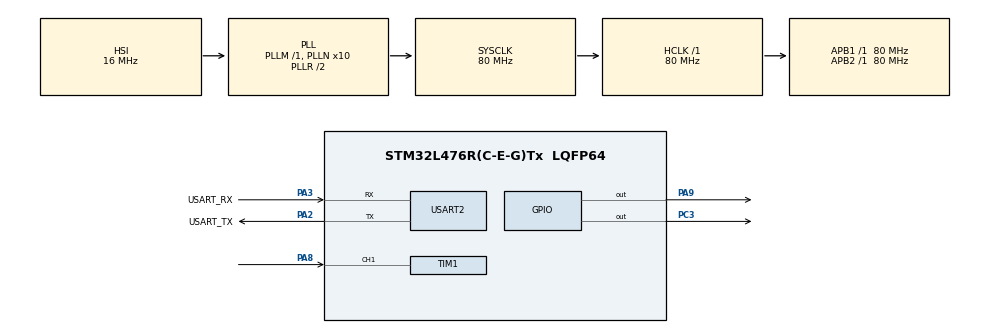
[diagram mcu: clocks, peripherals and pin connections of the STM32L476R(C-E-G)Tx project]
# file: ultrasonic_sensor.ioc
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Mcu.Family=STM32L4
PA2.GPIO_PuPd=GPIO_NOPULL
VP_SYS_VS_tim6.Mode=TIM6
RCC.CortexFreq_Value=80000000
NVIC.TIM6_DAC_IRQn=true\:0\:0\:false\:false\:true\:false\:false\:true
PH0-OSC_IN\ (PH0).Signal=RCC_OSC_IN
PA3.GPIO_PuPd=GPIO_NOPULL
PA2.GPIO_Speed=GPIO_SPEED_FREQ_VERY_HIGH
PC15-OSC32_OUT\ (PC15).Mode=LSE-External-Oscillator
PA3.GPIO_Speed=GPIO_SPEED_FREQ_VERY_HIGH
RCC.SYSCLKSource=RCC_SYSCLKSOURCE_PLLCLK
ProjectManager.StackSize=0x400
PB3\ (JTDO-TRACESWO).Signal=SYS_JTDO-SWO
PC14-OSC32_IN\ (PC14).Mode=LSE-External-Oscillator
VP_FREERTOS_VS_CMSIS_V2.Mode=CMSIS_V2
PA14\ (JTCK-SWCLK).Signal=SYS_JTCK-SWCLK
TIM1.Prescaler=80
RCC.HCLKFreq_Value=80000000
RCC.APB2TimFreq_Value=80000000
PC3.Signal=GPIO_Output
RCC.AHBFreq_Value=80000000
RCC.PREFETCH_ENABLE=1
RCC.HSE_VALUE=8000000
USART2.VirtualMode-Asynchronous=VM_ASYNC
PA8.Signal=S_TIM1_CH1
Mcu.Package=LQFP64
NVIC.TimeBase=TIM6_DAC_IRQn
PA2.GPIO_Label=USART_TX
NVIC.TimeBaseIP=TIM6
RCC.APB1TimFreq_Value=80000000
TIM1.ICPolarity_CH1=TIM_INPUTCHANNELPOLARITY_BOTHEDGE
TIM1.Period=65535
PA13\ (JTMS-SWDIO).Signal=SYS_JTMS-SWDIO
PA3.Signal=USART2_RX
PA2.GPIO_Mode=GPIO_MODE_AF_PP
RCC.MSI_VALUE=4000000
RCC.PLLSourceVirtual=RCC_PLLSOURCE_HSI
PA14\ (JTCK-SWCLK).Mode=Serial_Wire
FREERTOS.Tasks01=ultrasonicSens,8,128,StartUltrasonicSensTask,Default,NULL,Dynamic,NULL,NULL
PC15-OSC32_OUT\ (PC15).Signal=RCC_OSC32_OUT
PA14\ (JTCK-SWCLK).GPIO_Label=TCK
PB3\ (JTDO-TRACESWO).GPIO_Label=SWO
PH1-OSC_OUT\ (PH1).Signal=RCC_OSC_OUT
PA3.Mode=Asynchronous
SH.S_TIM1_CH1.0=TIM1_CH1,Input_Capture1_from_TI1
ProjectManager.TargetToolchain=STM32CubeIDE
PA3.GPIO_Mode=GPIO_MODE_AF_PP
PA9.Signal=GPIO_Output
RCC.USBFreq_Value=64000000
board=NUCLEO-L476RG
RCC.VCOOutputFreq_Value=160000000
RCC.APB2Freq_Value=80000000
PA13\ (JTMS-SWDIO).GPIO_Label=TMS
RCC.ADCFreq_Value=64000000
Mcu.Name=STM32L476R(C-E-G)Tx
PA2.Signal=USART2_TX
NVIC.TIM1_CC_IRQn=true\:5\:0\:false\:false\:true\:true\:true\:true
PA13\ (JTMS-SWDIO).Mode=Serial_Wire
RCC.SYSCLKFreq_VALUE=80000000
TIM1.Channel-Input_Capture1_from_TI1=TIM_CHANNEL_1
PC14-OSC32_IN\ (PC14).Signal=RCC_OSC32_IN
ProjectManager.HeapSize=0x200
RCC.HSI_VALUE=16000000
NVIC.PriorityGroup=NVIC_PRIORITYGROUP_4
RCC.PLLN=10
PA2.Mode=Asynchronous
RCC.APB1Freq_Value=80000000
PA3.GPIO_Label=USART_RX

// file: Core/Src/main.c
/* USER CODE BEGIN Header */
/**
  ******************************************************************************
  * @file           : main.c
  * @brief          : Main program body
  ******************************************************************************
  * @attention
  *
  * <h2><center>&copy; Copyright (c) 2021 STMicroelectronics.
  * All rights reserved.</center></h2>
  *
  * This software component is licensed by ST under BSD 3-Clause license,
  * the "License"; You may not use this file except in compliance with the
  * License. You may obtain a copy of the License at:
  *                        opensource.org/licenses/BSD-3-Clause
  *
  ******************************************************************************
  */
/* USER CODE END Header */
#include "main.h"
#include "cmsis_os.h"

/* USER CODE BEGIN Includes */
#include <stdio.h>
/* USER CODE END Includes */

/* USER CODE BEGIN PTD */
#ifdef __GNUC__
	#define PUTCHAR_PROTOTYPE int __io_putchar(int ch)
#else
	#define PUTCHAR_PROTOTYPE int fputc(int ch, FILE *f)
#endif /* __GNUC__ */
/* USER CODE END PTD */

TIM_HandleTypeDef htim1;

UART_HandleTypeDef huart2;

/* Definitions for ultrasonicSens */
osThreadId_t ultrasonicSensHandle;
const osThreadAttr_t ultrasonicSens_attributes = {
  .name = "ultrasonicSens",
  .stack_size = 128 * 4,
  .priority = (osPriority_t) osPriorityLow,
};

void SystemClock_Config(void);
static void MX_GPIO_Init(void);
static void MX_USART2_UART_Init(void);
static void MX_TIM1_Init(void);
void StartUltrasonicSensTask(void *argument);

/* USER CODE BEGIN 0 */
#define TRIG_PIN GPIO_PIN_9
#define TRIG_PORT GPIOA

typedef enum
{
	GET_RISING_EDGE,
	GET_FALLING_EDGE,
} UltrasonicState_t;

volatile uint32_t ulICValRise = 0UL;
volatile uint32_t ulICValFall = 0UL;
volatile uint32_t ulPulseWidth1ms = 0Ul;
volatile UltrasonicState_t eUltrasonicState = GET_RISING_EDGE;
volatile float fDistance = 0.0f;

// Callback
void HAL_TIM_IC_CaptureCallback(TIM_HandleTypeDef *htim)
{
	// If the interrut source is from channel 1
	if (htim->Instance == TIM1 && htim->Channel == HAL_TIM_ACTIVE_CHANNEL_1)
	{
		if (eUltrasonicState == GET_RISING_EDGE)
		{
			ulICValRise = HAL_TIM_ReadCapturedValue(htim, TIM_CHANNEL_1);

			eUltrasonicState = GET_FALLING_EDGE;
		}
		else if (eUltrasonicState == GET_FALLING_EDGE)
		{
			ulICValFall = HAL_TIM_ReadCapturedValue(htim, TIM_CHANNEL_1);

			// Reset the counter
			__HAL_TIM_SET_COUNTER(htim, 0);

			if (ulICValFall >= ulICValRise)
			{
				ulPulseWidth1ms = ulICValFall - ulICValRise;
			}
			else
			{
				ulPulseWidth1ms = (0xFFFF - ulICValRise) + ulICValFall;
			}

			fDistance = (float)ulPulseWidth1ms / 58.30875f;

			eUltrasonicState = GET_RISING_EDGE;
		}
	}
}

void HCSR04_Read(void)
{
	HAL_GPIO_WritePin(TRIG_PORT, TRIG_PIN, GPIO_PIN_SET);
	osDelay(10);
	HAL_GPIO_WritePin(TRIG_PORT, TRIG_PIN, GPIO_PIN_RESET);
}

/* USER CODE END 0 */

int main(void)
{

  /* MCU Configuration--------------------------------------------------------*/

  /* Reset of all peripherals, Initializes the Flash interface and the Systick. */
  HAL_Init();

  /* Configure the system clock */
  SystemClock_Config();

  /* Initialize all configured peripherals */
  MX_GPIO_Init();
  MX_USART2_UART_Init();
  MX_TIM1_Init();
  /* USER CODE BEGIN 2 */

  // Start input capture in interrupt mode
  HAL_TIM_IC_Start_IT(&htim1, TIM_CHANNEL_1);
  /* USER CODE END 2 */

  /* Init scheduler */
  osKernelInitialize();

  /* Create the thread(s) */
  /* creation of ultrasonicSens */
  ultrasonicSensHandle = osThreadNew(StartUltrasonicSensTask, NULL, &ultrasonicSens_attributes);

  /* Start scheduler */
  osKernelStart();

  /* We should never get here as control is now taken by the scheduler */
  /* Infinite loop */
  for (;;)
  {

  }
}

void SystemClock_Config(void)
{
  RCC_OscInitTypeDef RCC_OscInitStruct = {0};
  RCC_ClkInitTypeDef RCC_ClkInitStruct = {0};
  RCC_PeriphCLKInitTypeDef PeriphClkInit = {0};

  /** Initializes the RCC Oscillators according to the specified parameters
  * in the RCC_OscInitTypeDef structure.
  */
  RCC_OscInitStruct.OscillatorType = RCC_OSCILLATORTYPE_HSI;
  RCC_OscInitStruct.HSIState = RCC_HSI_ON;
  RCC_OscInitStruct.HSICalibrationValue = RCC_HSICALIBRATION_DEFAULT;
  RCC_OscInitStruct.PLL.PLLState = RCC_PLL_ON;
  RCC_OscInitStruct.PLL.PLLSource = RCC_PLLSOURCE_HSI;
  RCC_OscInitStruct.PLL.PLLM = 1;
  RCC_OscInitStruct.PLL.PLLN = 10;
  RCC_OscInitStruct.PLL.PLLP = RCC_PLLP_DIV7;
  RCC_OscInitStruct.PLL.PLLQ = RCC_PLLQ_DIV2;
  RCC_OscInitStruct.PLL.PLLR = RCC_PLLR_DIV2;
  if (HAL_RCC_OscConfig(&RCC_OscInitStruct) != HAL_OK)
  {
    Error_Handler();
  }
  /** Initializes the CPU, AHB and APB buses clocks
  */
  RCC_ClkInitStruct.ClockType = RCC_CLOCKTYPE_HCLK|RCC_CLOCKTYPE_SYSCLK
                              |RCC_CLOCKTYPE_PCLK1|RCC_CLOCKTYPE_PCLK2;
  RCC_ClkInitStruct.SYSCLKSource = RCC_SYSCLKSOURCE_PLLCLK;
  RCC_ClkInitStruct.AHBCLKDivider = RCC_SYSCLK_DIV1;
  RCC_ClkInitStruct.APB1CLKDivider = RCC_HCLK_DIV1;
  RCC_ClkInitStruct.APB2CLKDivider = RCC_HCLK_DIV1;

  if (HAL_RCC_ClockConfig(&RCC_ClkInitStruct, FLASH_LATENCY_4) != HAL_OK)
  {
    Error_Handler();
  }
  PeriphClkInit.PeriphClockSelection = RCC_PERIPHCLK_USART2;
  PeriphClkInit.Usart2ClockSelection = RCC_USART2CLKSOURCE_PCLK1;
  if (HAL_RCCEx_PeriphCLKConfig(&PeriphClkInit) != HAL_OK)
  {
    Error_Handler();
  }
  /** Configure the main internal regulator output voltage
  */
  if (HAL_PWREx_ControlVoltageScaling(PWR_REGULATOR_VOLTAGE_SCALE1) != HAL_OK)
  {
    Error_Handler();
  }
}

static void MX_TIM1_Init(void)
{

  TIM_MasterConfigTypeDef sMasterConfig = {0};
  TIM_IC_InitTypeDef sConfigIC = {0};

  htim1.Instance = TIM1;
  htim1.Init.Prescaler = 80;
  htim1.Init.CounterMode = TIM_COUNTERMODE_UP;
  htim1.Init.Period = 65535;
  htim1.Init.ClockDivision = TIM_CLOCKDIVISION_DIV1;
  htim1.Init.RepetitionCounter = 0;
  htim1.Init.AutoReloadPreload = TIM_AUTORELOAD_PRELOAD_DISABLE;
  if (HAL_TIM_IC_Init(&htim1) != HAL_OK)
  {
    Error_Handler();
  }
  sMasterConfig.MasterOutputTrigger = TIM_TRGO_RESET;
  sMasterConfig.MasterOutputTrigger2 = TIM_TRGO2_RESET;
  sMasterConfig.MasterSlaveMode = TIM_MASTERSLAVEMODE_DISABLE;
  if (HAL_TIMEx_MasterConfigSynchronization(&htim1, &sMasterConfig) != HAL_OK)
  {
    Error_Handler();
  }
  sConfigIC.ICPolarity = TIM_INPUTCHANNELPOLARITY_BOTHEDGE;
  sConfigIC.ICSelection = TIM_ICSELECTION_DIRECTTI;
  sConfigIC.ICPrescaler = TIM_ICPSC_DIV1;
  sConfigIC.ICFilter = 0;
  if (HAL_TIM_IC_ConfigChannel(&htim1, &sConfigIC, TIM_CHANNEL_1) != HAL_OK)
  {
    Error_Handler();
  }

}

static void MX_USART2_UART_Init(void)
{

  huart2.Instance = USART2;
  huart2.Init.BaudRate = 115200;
  huart2.Init.WordLength = UART_WORDLENGTH_8B;
  huart2.Init.StopBits = UART_STOPBITS_1;
  huart2.Init.Parity = UART_PARITY_NONE;
  huart2.Init.Mode = UART_MODE_TX_RX;
  huart2.Init.HwFlowCtl = UART_HWCONTROL_NONE;
  huart2.Init.OverSampling = UART_OVERSAMPLING_16;
  huart2.Init.OneBitSampling = UART_ONE_BIT_SAMPLE_DISABLE;
  huart2.AdvancedInit.AdvFeatureInit = UART_ADVFEATURE_NO_INIT;
  if (HAL_UART_Init(&huart2) != HAL_OK)
  {
    Error_Handler();
  }

}

static void MX_GPIO_Init(void)
{
  GPIO_InitTypeDef GPIO_InitStruct = {0};

  /* GPIO Ports Clock Enable */
  __HAL_RCC_GPIOC_CLK_ENABLE();
  __HAL_RCC_GPIOH_CLK_ENABLE();
  __HAL_RCC_GPIOA_CLK_ENABLE();
  __HAL_RCC_GPIOB_CLK_ENABLE();

  /*Configure GPIO pin Output Level */
  HAL_GPIO_WritePin(GPIOC, GPIO_PIN_3, GPIO_PIN_RESET);

  /*Configure GPIO pin Output Level */
  HAL_GPIO_WritePin(GPIOA, GPIO_PIN_9, GPIO_PIN_RESET);

  /*Configure GPIO pin : PC3 */
  GPIO_InitStruct.Pin = GPIO_PIN_3;
  GPIO_InitStruct.Mode = GPIO_MODE_OUTPUT_PP;
  GPIO_InitStruct.Pull = GPIO_NOPULL;
  GPIO_InitStruct.Speed = GPIO_SPEED_FREQ_LOW;
  HAL_GPIO_Init(GPIOC, &GPIO_InitStruct);

  /*Configure GPIO pin : PA9 */
  GPIO_InitStruct.Pin = GPIO_PIN_9;
  GPIO_InitStruct.Mode = GPIO_MODE_OUTPUT_PP;
  GPIO_InitStruct.Pull = GPIO_NOPULL;
  GPIO_InitStruct.Speed = GPIO_SPEED_FREQ_LOW;
  HAL_GPIO_Init(GPIOA, &GPIO_InitStruct);

}

/* USER CODE BEGIN 4 */
PUTCHAR_PROTOTYPE
{
	HAL_UART_Transmit(&huart2, (uint8_t *)&ch, 1, 0xFFFF);
	return ch;
}
/* USER CODE END 4 */

void StartUltrasonicSensTask(void *argument)
{
  /* USER CODE BEGIN 5 */
  /* Infinite loop */
  for(;;)
  {
    //HAL_GPIO_TogglePin(GPIOC, GPIO_PIN_3);

  	HCSR04_Read();
  	osDelay(200);

  	printf("Distance: %9.6f\r\n", fDistance);
  	printf("Pulse: %lu\r\n", ulPulseWidth1ms);
  	printf("IC1: %lu\r\n", ulICValRise);
  	printf("IC2: %lu\r\n", ulICValFall);

    osDelay(200);
  }
  /* USER CODE END 5 */
}

 /**
  * @brief  Period elapsed callback in non blocking mode
  * @note   This function is called  when TIM6 interrupt took place, inside
  * HAL_TIM_IRQHandler(). It makes a direct call to HAL_IncTick() to increment
  * a global variable "uwTick" used as application time base.
  * @param  htim : TIM handle
  * @retval None
  */
void HAL_TIM_PeriodElapsedCallback(TIM_HandleTypeDef *htim)
{
  if (htim->Instance == TIM6) {
    HAL_IncTick();
  }
}

void Error_Handler(void)
{
  __disable_irq();
  while (1)
  {
  }
}

/************************ (C) COPYRIGHT STMicroelectronics *****END OF FILE****/
